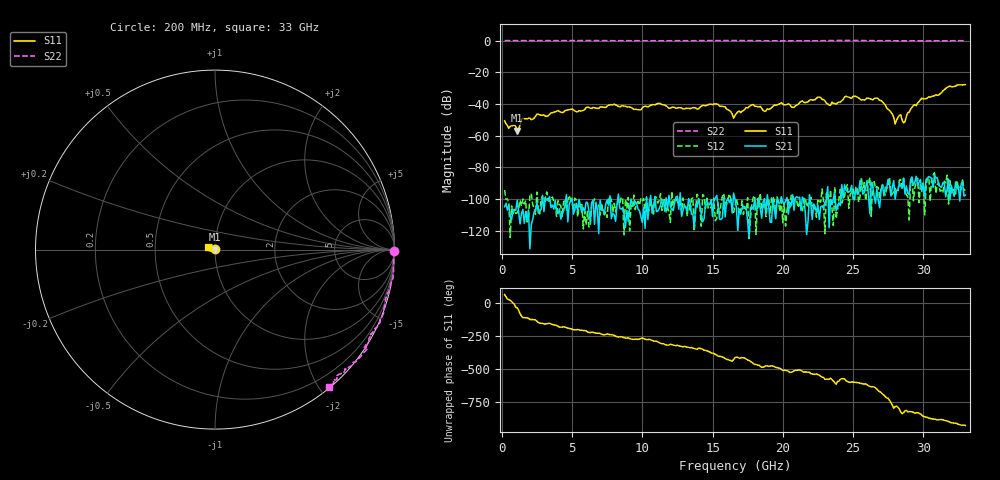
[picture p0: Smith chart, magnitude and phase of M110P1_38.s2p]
# GHZ S RI R 50
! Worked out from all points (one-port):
!   329 points, 200 MHz to 33 GHz, reference 50 ohm
!   lowest |S11| = -57.0 dB at 1.1 GHz (marker M1), VSWR 1.00, Z = 50.1 - j0.0779 ohm
!   |S11| at or under -10 dB: start of sweep to end of sweep
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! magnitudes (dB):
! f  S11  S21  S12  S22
! 200 MHz  -50.7  -105.0  -94.4  0.0
! 1.1 GHz  -57.0  -100.9  -108.9  0.0
! 1.5 GHz  -48.9  -106.7  -100.1  0.0
! 5.7 GHz  -44.4  -108.8  -103.5  0.0
! 11.2 GHz  -39.7  -106.3  -101.2  -0.1
! 13 GHz  -43.2  -104.2  -104.7  0.0
! 15.3 GHz  -39.9  -97.8  -112.4  0.0
! 16.6 GHz  -47.2  -100.2  -104.9  0.0
! 17.9 GHz  -40.4  -106.6  -99.0  0.0
! 18.7 GHz  -44.8  -99.8  -102.3  -0.1
! 19.9 GHz  -39.2  -98.6  -101.0  -0.1
! 22.1 GHz  -37.6  -113.0  -105.8  0.0
! 22.7 GHz  -35.9  -105.0  -102.1  -0.1
! 23.3 GHz  -40.9  -118.2  -105.5  0.0
! 24.5 GHz  -35.1  -94.5  -92.9  0.0
! 26.7 GHz  -36.3  -93.6  -92.3  -0.1
! 27.6 GHz  -44.2  -90.6  -86.5  -0.1
! 28 GHz  -52.7  -100.2  -93.3  -0.1
! 28.4 GHz  -46.9  -92.0  -87.9  -0.1
! 28.6 GHz  -52.0  -86.9  -87.1  -0.1
! 29.9 GHz  -36.4  -95.4  -90.1  -0.2
! 33 GHz  -27.8  -97.7  -94.3  -0.1
